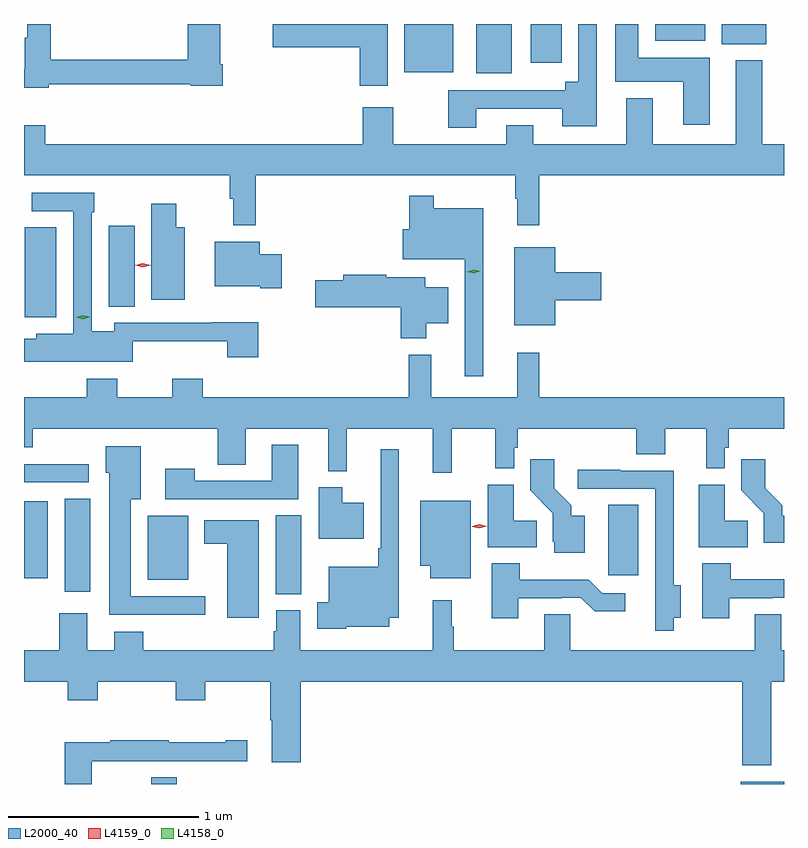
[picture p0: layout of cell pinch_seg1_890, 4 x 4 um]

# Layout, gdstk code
import gdstk
lib = gdstk.Library(unit=1e-6, precision=1e-09)
def R(c, l, rs):  # rectangles x0, y0, x1, y1
    for r in rs: c.add(gdstk.rectangle(r[:2], r[2:], *l))
def P(c, l, *ps):  # polygons
    for p in ps: c.add(gdstk.Polygon(p, *l))
L2000_40 = (2000, 40)
L4158_0 = (4158, 0)
L4159_0 = (4159, 0)

pinch_seg1_890 = lib.new_cell('pinch_seg1_890')
R(pinch_seg1_890, L2000_40, [(544.538,521.889,544.672,521.924), (547.64,521.889,547.868,521.902), (545.192,522.889,545.326,523.304), (544.082,522.9,544.216,523.391), (544.52,522.965,544.732,523.3), (543.868,522.971,543.994,523.378), (546.944,522.987,547.102,523.358), (543.868,523.476,544.21,523.572), (543.872,524.345,544.039,524.819), (544.313,524.401,544.45,524.827), (546.248,525.629,546.436,525.889), (545.87,525.635,546.127,525.889), (546.536,525.684,546.697,525.889), (547.541,525.782,547.774,525.889), (547.19,525.8,547.453,525.889)])
P(pinch_seg1_890, L2000_40, [(545.782,525.889),(545.178,525.889),(545.178,525.767),(545.636,525.767),(545.636,525.564),(545.782,525.564)],
  [(547.477,525.712),(547.102,525.712),(547.102,525.889),(546.98,525.889),(546.98,525.584),(547.337,525.584),(547.337,525.36),(547.477,525.36)],
  [(546.247,525.444),(546.701,525.444),(546.701,525.35),(546.882,525.35),(546.882,525.889),(546.786,525.889),(546.786,525.586),(546.716,525.586),(546.716,525.54),(546.1,525.54),(546.1,525.342),(546.247,525.342)],
  [(543.997,525.573),(544.746,525.573),(544.746,525.565),(544.913,525.565),(544.913,525.676),(544.9,525.676),(544.9,525.889),(544.73,525.889),(544.73,525.701),(544.01,525.701),(544.01,525.889),(543.884,525.889),(543.884,525.816),(543.872,525.816),(543.872,525.651),(543.868,525.651),(543.868,525.554),(543.997,525.554)],
  [(545.087,525.092),(546.453,525.092),(546.453,524.969),(546.464,524.969),(546.464,524.829),(546.581,524.829),(546.581,525.092),(547.868,525.092),(547.868,525.256),(547.753,525.256),(547.753,525.697),(547.613,525.697),(547.613,525.256),(547.177,525.256),(547.177,525.499),(547.037,525.499),(547.037,525.256),(546.547,525.256),(546.547,525.355),(546.407,525.355),(546.407,525.256),(545.811,525.256),(545.811,525.451),(545.651,525.451),(545.651,525.256),(543.98,525.256),(543.98,525.355),(543.868,525.355),(543.868,525.092),(544.951,525.092),(544.951,524.969),(544.969,524.969),(544.969,524.829),(545.087,524.829)],
  [(544.44,524.219),(544.937,524.219),(544.937,524.136),(545.102,524.136),(545.102,524.318),(544.853,524.318),(544.853,524.316),(544.344,524.316),(544.344,524.272),(544.224,524.272),(544.224,524.897),(544.237,524.897),(544.237,525),(543.909,525),(543.909,524.904),(544.128,524.904),(544.128,524.26),(543.933,524.26),(543.933,524.233),(543.868,524.233),(543.868,524.111),(544.44,524.111)],
  [(546.286,524.92),(546.025,524.92),(546.025,524.986),(545.896,524.986),(545.896,524.809),(545.862,524.809),(545.862,524.651),(546.189,524.651),(546.189,524.034),(546.286,524.034)],
  [(544.714,524.818),(544.668,524.818),(544.668,524.944),(544.538,524.944),(544.538,524.438),(544.714,524.438)],
  [(545.224,524.676),(545.11,524.676),(545.11,524.743),(544.871,524.743),(544.871,524.51),(545.111,524.51),(545.111,524.498),(545.224,524.498)],
  [(546.664,524.435),(546.907,524.435),(546.907,524.582),(546.664,524.582),(546.664,524.713),(546.449,524.713),(546.449,524.303),(546.664,524.303)],
  [(545.986,524.315),(546.1,524.315),(546.1,524.503),(545.98,524.503),(545.98,524.557),(545.774,524.557),(545.774,524.57),(545.549,524.57),(545.549,524.54),(545.4,524.54),(545.4,524.398),(545.852,524.398),(545.852,524.234),(545.986,524.234)],
  [(544.808,524.023),(544.648,524.023),(544.648,523.924),(544.359,523.924),(544.359,524.023),(544.199,524.023),(544.199,523.924),(543.868,523.924),(543.868,523.661),(543.915,523.661),(543.915,523.76),(544.888,523.76),(544.888,523.57),(545.035,523.57),(545.035,523.76),(545.468,523.76),(545.468,523.535),(545.567,523.535),(545.567,523.76),(546.02,523.76),(546.02,523.527),(546.12,523.527),(546.12,523.76),(546.349,523.76),(546.349,523.55),(546.447,523.55),(546.447,523.659),(546.467,523.659),(546.467,523.76),(547.091,523.76),(547.091,523.624),(547.243,523.624),(547.243,523.76),(547.46,523.76),(547.46,523.55),(547.557,523.55),(547.557,523.659),(547.577,523.659),(547.577,523.76),(547.868,523.76),(547.868,523.924),(546.581,523.924),(546.581,524.158),(546.464,524.158),(546.464,523.924),(546.011,523.924),(546.011,524.149),(545.893,524.149),(545.893,523.924),(544.808,523.924)],
  [(545.311,523.675),(545.171,523.675),(545.171,523.485),(544.767,523.485),(544.767,523.549),(544.611,523.549),(544.611,523.389),(545.311,523.389)],
  [(544.822,522.876),(544.429,522.876),(544.429,523.388),(544.483,523.388),(544.483,523.666),(544.298,523.666),(544.298,523.527),(544.316,523.527),(544.316,522.779),(544.822,522.779)],
  [(545.565,522.716),(545.791,522.716),(545.791,522.764),(545.841,522.764),(545.841,523.651),(545.745,523.651),(545.745,523.129),(545.733,523.129),(545.733,523.033),(545.471,523.033),(545.471,522.846),(545.411,522.846),(545.411,522.707),(545.565,522.707)],
  [(546.82,523.3),(546.748,523.3),(546.748,523.355),(546.658,523.445),(546.658,523.597),(546.532,523.597),(546.532,523.434),(546.651,523.315),(546.651,523.164),(546.659,523.164),(546.659,523.107),(546.82,523.107)],
  [(547.868,523.3),(547.858,523.3),(547.858,523.355),(547.768,523.445),(547.768,523.597),(547.642,523.597),(547.642,523.434),(547.761,523.315),(547.761,523.16),(547.868,523.16)],
  [(547.288,522.764),(547.324,522.764),(547.324,522.935),(547.288,522.935),(547.288,523.539),(547.007,523.539),(547.007,523.542),(546.783,523.542),(546.783,523.443),(547.191,523.443),(547.191,522.918),(547.19,522.918),(547.19,522.696),(547.288,522.696)],
  [(547.676,523.274),(547.555,523.274),(547.555,523.465),(547.418,523.465),(547.418,523.136),(547.676,523.136)],
  [(546.566,523.274),(546.445,523.274),(546.445,523.465),(546.308,523.465),(546.308,523.136),(546.566,523.136)],
  [(545.656,523.369),(545.542,523.369),(545.542,523.45),(545.42,523.45),(545.42,523.181),(545.656,523.181)],
  [(546.22,523.381),(545.954,523.381),(545.954,523.037),(546.005,523.037),(546.005,522.971),(546.22,522.971)],
  [(545.104,523.276),(544.817,523.276),(544.817,523.154),(544.937,523.154),(544.937,522.764),(545.104,522.764)],
  [(547.579,522.867),(547.808,522.867),(547.808,522.87),(547.868,522.87),(547.868,522.967),(547.587,522.967),(547.587,523.051),(547.439,523.051),(547.439,522.762),(547.579,522.762)],
  [(546.469,522.867),(546.698,522.867),(546.698,522.87),(546.798,522.87),(546.871,522.797),(547.033,522.797),(547.033,522.894),(546.912,522.894),(546.841,522.965),(546.477,522.965),(546.477,523.051),(546.329,523.051),(546.329,522.762),(546.469,522.762)],
  [(547.801,522.428),(547.868,522.428),(547.868,522.592),(547.854,522.592),(547.854,522.782),(547.715,522.782),(547.715,522.592),(546.744,522.592),(546.744,522.782),(546.605,522.782),(546.605,522.592),(546.13,522.592),(546.13,522.716),(546.119,522.716),(546.119,522.856),(546.019,522.856),(546.019,522.592),(545.323,522.592),(545.323,522.804),(545.195,522.804),(545.195,522.693),(545.183,522.693),(545.183,522.592),(544.496,522.592),(544.496,522.691),(544.343,522.691),(544.343,522.592),(544.201,522.592),(544.201,522.787),(544.054,522.787),(544.054,522.592),(543.868,522.592),(543.868,522.428),(544.097,522.428),(544.097,522.329),(544.257,522.329),(544.257,522.428),(544.666,522.428),(544.666,522.329),(544.821,522.329),(544.821,522.428),(545.164,522.428),(545.164,522.224),(545.171,522.224),(545.171,522.003),(545.324,522.003),(545.324,522.428),(547.649,522.428),(547.649,521.987),(547.801,521.987)],
  [(544.224,522.008),(544.434,522.008),(544.434,522.009),(544.768,522.009),(544.768,522.008),(545.044,522.008),(545.044,522.118),(544.931,522.118),(544.931,522.108),(544.631,522.108),(544.631,522.118),(544.321,522.118),(544.321,522.108),(544.082,522.108),(544.082,521.889),(544.224,521.889)])
P(pinch_seg1_890, L4158_0, [(544.176,524.336),(544.142,524.346),(544.141,524.346),(544.142,524.346),(544.176,524.356),(544.211,524.347),(544.211,524.347),(544.211,524.346)],
  [(546.235,524.576),(546.2,524.584),(546.2,524.584),(546.2,524.584),(546.234,524.596),(546.27,524.588),(546.27,524.587),(546.27,524.587)])
P(pinch_seg1_890, L4159_0, [(544.493,524.609),(544.453,524.618),(544.453,524.618),(544.453,524.618),(544.493,524.629),(544.534,524.619),(544.534,524.619),(544.534,524.619)],
  [(546.265,523.235),(546.226,523.244),(546.226,523.245),(546.226,523.245),(546.265,523.255),(546.304,523.245),(546.304,523.245),(546.304,523.245)])

lib.write_gds('pinch_seg1_890.gds')
